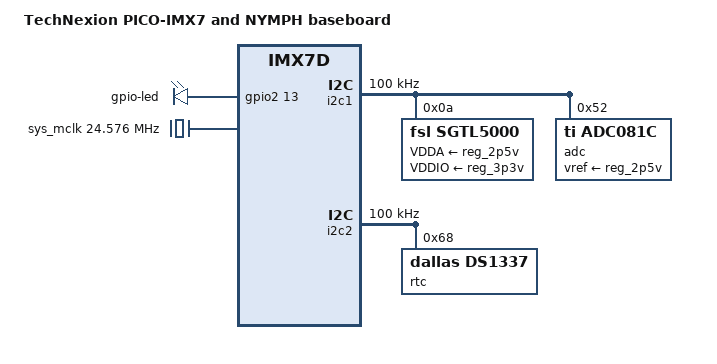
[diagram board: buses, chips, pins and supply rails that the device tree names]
// SPDX-License-Identifier: (GPL-2.0 OR MIT)
//
// Copyright 2015 Technexion Ltd.
//
// Author: Wig Cheng  <wig.cheng@technexion.com>
//	   Richard Hu <richard.hu@technexion.com>
//	   Tapani Utriainen <tapani@technexion.com>
/dts-v1/;

#include "imx7d-pico.dtsi"
/ {
	model = "TechNexion PICO-IMX7 and NYMPH baseboard";
	compatible = "technexion,imx7d-pico-nymph", "fsl,imx7d";

	leds {
		compatible = "gpio-leds";
		pinctrl-names = "default";
		pinctrl-0 = <&pinctrl_gpio_leds>;

		led {
			label = "gpio-led";
			gpios = <&gpio2 13 GPIO_ACTIVE_HIGH>;
		};
	};

	sound {
		compatible = "fsl,imx-audio-sgtl5000";
		model = "imx7d-sgtl5000";
		audio-cpu = <&sai1>;
		audio-codec = <&sgtl5000>;
		audio-routing =
			"LINE_IN", "Line In Jack",
			"MIC_IN", "Mic Jack",
			"Mic Jack", "Mic Bias",
			"Headphone Jack", "HP_OUT";
	};

	sys_mclk: clock-sys-mclk {
		compatible = "fixed-clock";
		#clock-cells = <0>;
		clock-frequency = <24576000>;
	};
};

&i2c1 {
	clock-frequency = <100000>;
	pinctrl-names = "default";
	pinctrl-0 = <&pinctrl_i2c1>;
	status = "okay";

	sgtl5000: audio-codec@a {
		reg = <0x0a>;
		compatible = "fsl,sgtl5000";
		#sound-dai-cells = <0>;
		clocks = <&sys_mclk>;
		VDDA-supply = <&reg_2p5v>;
		VDDIO-supply = <&reg_3p3v>;
	};

	adc@52 {
		compatible = "ti,adc081c";
		reg = <0x52>;
		vref-supply = <&reg_2p5v>;
	};
};

&i2c2 {
	clock-frequency = <100000>;
	pinctrl-names = "default";
	pinctrl-0 = <&pinctrl_i2c2>;
	status = "okay";

	rtc@68 {
		compatible = "dallas,ds1337";
		reg = <0x68>;
	};
};

&iomuxc {
	pinctrl_gpio_leds: gpioledsgrp {
		fsl,pins = <
			MX7D_PAD_EPDC_DATA13__GPIO2_IO13	0x14
		>;
	};
};
